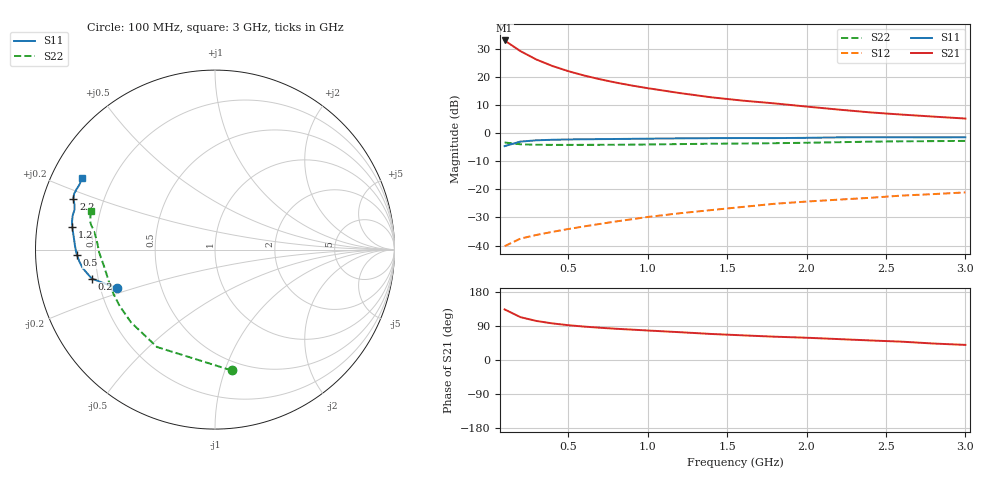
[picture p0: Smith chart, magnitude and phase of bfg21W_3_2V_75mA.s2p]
! Filename: 3_275bfg21.001
! Title: BFG21W
! Bias: Vce=3.2V; Ic=75mA
! Company: Philips Semiconductors NL
! User: Quality&Reliability T&D
! Measure time: 10 Nov 1999 / 11:42:39
#  MHz  S  MA  R 50
! Freq  S11  S21  S12  S22  :
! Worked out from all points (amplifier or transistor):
!   20 points, 100 MHz to 3 GHz, reference 50 ohm
!   highest |S21| = 32.9 dB at 100 MHz (marker M1)
!   |S21| within 3 dB of that: start of sweep to 178.7 MHz
!   unconditionally stable (mu >= 1): 764.4 MHz to end of sweep
!   at 400 MHz: K = 0.80, MSG = 29.5 dB, |S12| = -35.1 dB
!   at 1.2 GHz: K = 1.06, MAG = 19.9 dB, |S12| = -28.5 dB
!   at 3 GHz: K = 1.05, MAG = 11.7 dB, |S12| = -21.1 dB
!   S11 on the Smith chart (normalised r, x): 100 MHz: 0.27, -0.18; 200 MHz: 0.17, -0.11; 500 MHz: 0.13, -0.02; 1.2 GHz: 0.11, +0.08; 2.2 GHz: 0.09, +0.17; 3 GHz: 0.09, +0.25
100  0.586 -158.4  44.29 133.5  0.009755 53.3  0.6794 -82.2
200  0.7058 -166.8  28.55 113.0  0.01331 47.3  0.6317 -120.8
300  0.7433 -171.9  20.3 103.0  0.01544 48.6  0.6191 -139.1
400  0.7596 -175.2  15.6 96.6  0.01751 52.0  0.617 -149.4
500  0.7696 -177.7  12.62 91.9  0.01964 54.9  0.6169 -156.0
600  0.7756 -179.8  10.54 88.2  0.02189 57.8  0.6175 -160.7
700  0.7805 178.4  9.053 85.1  0.02425 60.4  0.6181 -164.3
800  0.7847 176.7  7.898 82.4  0.02681 62.5  0.6195 -167.2
900  0.7896 175.1  7 80.2  0.02935 64.6  0.6225 -169.8
1000  0.795 173.6  6.283 77.9  0.0322 65.9  0.6265 -172.1
1200  0.8053 170.9  5.152 73.4  0.03748 67.7  0.6366 -175.8
1400  0.8119 168.8  4.323 68.7  0.04272 68.8  0.6461 -178.8
1600  0.8153 166.5  3.769 65.0  0.04869 69.7  0.6518 178.6
1800  0.8137 164.1  3.366 61.5  0.05534 70.2  0.6602 175.8
2000  0.8225 162.2  2.958 58.7  0.06058 71.0  0.6723 173.0
2200  0.8387 160.2  2.618 55.2  0.0655 71.1  0.6876 170.6
2400  0.8443 158.4  2.332 51.6  0.07066 70.5  0.7032 168.8
2600  0.8416 156.6  2.13 48.4  0.07736 69.6  0.7134 167.2
2800  0.8375 154.2  1.961 43.4  0.08228 68.1  0.7182 165.1
3000  0.842 151.7  1.812 39.9  0.08815 67.2  0.726 162.6
